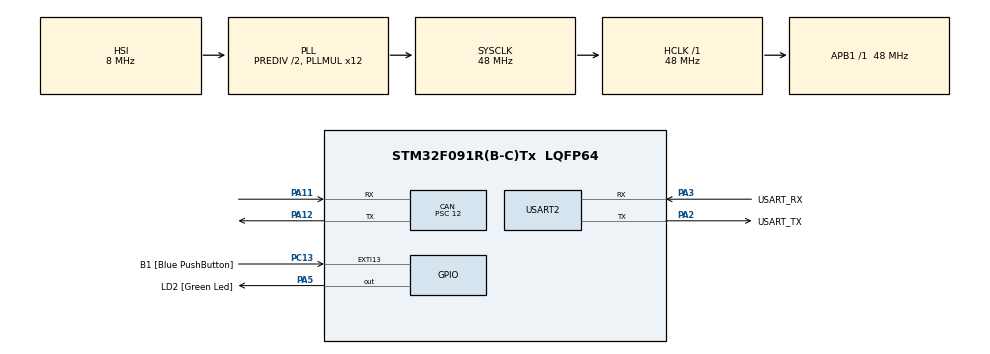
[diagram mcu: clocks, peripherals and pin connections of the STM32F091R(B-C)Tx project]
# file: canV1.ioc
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CAN.AWUM=ENABLE
CAN.BS1=CAN_BS1_8TQ
CAN.BS2=CAN_BS2_2TQ
CAN.CalculateBaudRate=363636
CAN.CalculateTimeBit=2750
CAN.CalculateTimeQuantum=250.0
CAN.Prescaler=12
Mcu.Family=STM32F0
Mcu.Name=STM32F091R(B-C)Tx
Mcu.Package=LQFP64
NVIC.CEC_CAN_IRQn=true\:0\:0\:false\:false\:true\:true\:true
PA11.Mode=CAN_Activate
PA11.Signal=CAN_RX
PA12.Mode=CAN_Activate
PA12.Signal=CAN_TX
PA13.GPIO_Label=TMS
PA13.Mode=Serial_Wire
PA13.Signal=SYS_SWDIO
PA14.GPIO_Label=TCK
PA14.Mode=Serial_Wire
PA14.Signal=SYS_SWCLK
PA2.GPIO_Label=USART_TX
PA2.GPIO_Mode=GPIO_MODE_AF_PP
PA2.GPIO_PuPd=GPIO_NOPULL
PA2.GPIO_Speed=GPIO_SPEED_FREQ_LOW
PA2.Mode=Asynchronous
PA2.Signal=USART2_TX
PA3.GPIO_Label=USART_RX
PA3.GPIO_Mode=GPIO_MODE_AF_PP
PA3.GPIO_PuPd=GPIO_NOPULL
PA3.GPIO_Speed=GPIO_SPEED_FREQ_LOW
PA3.Mode=Asynchronous
PA3.Signal=USART2_RX
PA5.GPIO_Label=LD2 [Green Led]
PA5.GPIO_Mode=GPIO_MODE_OUTPUT_PP
PA5.GPIO_PuPd=GPIO_NOPULL
PA5.GPIO_Speed=GPIO_SPEED_FREQ_LOW
PA5.Signal=GPIO_Output
PC13.GPIO_Label=B1 [Blue PushButton]
PC13.GPIO_ModeDefaultEXTI=GPIO_MODE_IT_FALLING
PC13.Signal=GPXTI13
PC14OSC32_IN.Signal=RCC_OSC32_IN
PC15OSC32_OUT.Signal=RCC_OSC32_OUT
PF0-OSC_IN.Mode=HSE-External-Oscillator
PF0-OSC_IN.Signal=RCC_OSC_IN
PF1-OSC_OUT.Mode=HSE-External-Oscillator
PF1-OSC_OUT.Signal=RCC_OSC_OUT
ProjectManager.HeapSize=0x200
ProjectManager.StackSize=0x400
ProjectManager.TargetToolchain=STM32CubeIDE
RCC.AHBFreq_Value=48000000
RCC.APB1Freq_Value=48000000
RCC.APB1TimFreq_Value=48000000
RCC.FLatency-AdvancedSettings=FLASH_LATENCY_1
RCC.HCLKFreq_Value=48000000
RCC.PLLDivider=RCC_PREDIV_DIV2
RCC.PLLMUL=RCC_PLL_MUL12
RCC.PREFETCH_ENABLE-AdvancedSettings=1
RCC.SYSCLKFreq_VALUE=48000000
RCC.SYSCLKSource=RCC_SYSCLKSOURCE_PLLCLK
USART2.VirtualMode-Asynchronous=VM_ASYNC
board=NUCLEO-F091RC

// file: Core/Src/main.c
/* USER CODE BEGIN Header */
/**
 ******************************************************************************
 * @file           : main.c
 * @brief          : Main program body
 * @author 		: Theo RUSINOWITCH <teo.rusi@hotmail.fr>
 ******************************************************************************
 * @attention
 *
 * <h2><center>&copy; Copyright (c) 2021 STMicroelectronics.
 * All rights reserved.</center></h2>
 *
 * This software component is licensed by ST under BSD 3-Clause license,
 * the "License"; You may not use this file except in compliance with the
 * License. You may obtain a copy of the License at:
 *                        opensource.org/licenses/BSD-3-Clause
 *
 ******************************************************************************
 */
/* USER CODE END Header */
#include "main.h"

CAN_HandleTypeDef hcan;

UART_HandleTypeDef huart2;
/* USER CODE BEGIN PV */
CAN_TxHeaderTypeDef TxHeader;
/* USER CODE END PV */

void SystemClock_Config(void);
static void MX_GPIO_Init(void);
static void MX_USART2_UART_Init(void);
static void MX_CAN_Init(void);
/* USER CODE BEGIN PFP */

void HAL_CAN_RxFifo0MsgPendingCallback(CAN_HandleTypeDef *hcan);
/* USER CODE END PFP */

/* USER CODE BEGIN 0 */

void HAL_CAN_RxFifo0MsgPendingCallback(CAN_HandleTypeDef *hcan) {

	// traitement et mise en forme de la trame
	/////////////////////////////////////////////////////////////////////////
	uint8_t RxData[8];
	CAN_RxHeaderTypeDef RxHeader;
	HAL_CAN_GetRxMessage(hcan, CAN_RX_FIFO0, &RxHeader, RxData);

	struct CanMsg msg;
	msg.addr = RxHeader.StdId & 0xf00;
	msg.idMessage = RxHeader.StdId & 0x0ff;
	msg.codeFct = RxData[0];
	for(int i = 1; i <= RxHeader.DLC; i++){
		msg.data[i-1] = RxData[i];
	}
	msg.dataLen = RxHeader.DLC-1;
	/////////////////////////////////////////////////////////////////////////

	//	le message et ses info sont dans la variable msg

	//	écrire le code ICI

	/*
	//renvoi un msg sur le bus can
	uint8_t data[3] = {msg.data[0],RxData[1],0x11};
	send_can(0x123, data, 3);*/
}

/* USER CODE END 0 */

int main(void) {

	/* MCU Configuration--------------------------------------------------------*/

	/* Reset of all peripherals, Initializes the Flash interface and the Systick. */
	HAL_Init();

	/* Configure the system clock */
	SystemClock_Config();

	/* Initialize all configured peripherals */
	MX_GPIO_Init();
	MX_USART2_UART_Init();
	MX_CAN_Init();
	/* USER CODE BEGIN 2 */
	CAN_Config(hcan, 0x222);

	char *msg = "\n\r\n\rHello Nucleo Fun!\n\r";
	HAL_UART_Transmit(&huart2, (uint8_t*) msg, sizeof(msg), 1000);
	HAL_GPIO_WritePin(GPIOA, GPIO_PIN_5, 1);
	HAL_Delay(1500);
	HAL_GPIO_WritePin(GPIOA, GPIO_PIN_5, 0);   // LED on PA5 OFF
	HAL_Delay(500);
	/* USER CODE END 2 */

	/* Infinite loop */
	/* USER CODE BEGIN WHILE */
	send_one(0x123, 0x66);
	while (1) {
		HAL_Delay(1500);
		HAL_GPIO_WritePin(GPIOA, GPIO_PIN_5, 0);   // LED on PA5 OFF
		HAL_Delay(500);
		HAL_GPIO_WritePin(GPIOA, GPIO_PIN_5, 1);
		/* USER CODE END WHILE */

	}
}

void SystemClock_Config(void) {
	RCC_OscInitTypeDef RCC_OscInitStruct = { 0 };
	RCC_ClkInitTypeDef RCC_ClkInitStruct = { 0 };
	RCC_PeriphCLKInitTypeDef PeriphClkInit = { 0 };

	/** Initializes the RCC Oscillators according to the specified parameters
	 * in the RCC_OscInitTypeDef structure.
	 */
	RCC_OscInitStruct.OscillatorType = RCC_OSCILLATORTYPE_HSI;
	RCC_OscInitStruct.HSIState = RCC_HSI_ON;
	RCC_OscInitStruct.HSICalibrationValue = RCC_HSICALIBRATION_DEFAULT;
	RCC_OscInitStruct.PLL.PLLState = RCC_PLL_ON;
	RCC_OscInitStruct.PLL.PLLSource = RCC_PLLSOURCE_HSI;
	RCC_OscInitStruct.PLL.PLLMUL = RCC_PLL_MUL12;
	RCC_OscInitStruct.PLL.PREDIV = RCC_PREDIV_DIV2;
	if (HAL_RCC_OscConfig(&RCC_OscInitStruct) != HAL_OK) {
		Error_Handler();
	}
	/** Initializes the CPU, AHB and APB buses clocks
	 */
	RCC_ClkInitStruct.ClockType = RCC_CLOCKTYPE_HCLK | RCC_CLOCKTYPE_SYSCLK
			| RCC_CLOCKTYPE_PCLK1;
	RCC_ClkInitStruct.SYSCLKSource = RCC_SYSCLKSOURCE_PLLCLK;
	RCC_ClkInitStruct.AHBCLKDivider = RCC_SYSCLK_DIV1;
	RCC_ClkInitStruct.APB1CLKDivider = RCC_HCLK_DIV1;

	if (HAL_RCC_ClockConfig(&RCC_ClkInitStruct, FLASH_LATENCY_1) != HAL_OK) {
		Error_Handler();
	}
	PeriphClkInit.PeriphClockSelection = RCC_PERIPHCLK_USART2;
	PeriphClkInit.Usart2ClockSelection = RCC_USART2CLKSOURCE_PCLK1;
	if (HAL_RCCEx_PeriphCLKConfig(&PeriphClkInit) != HAL_OK) {
		Error_Handler();
	}
}

static void MX_CAN_Init(void) {

	hcan.Instance = CAN;
	hcan.Init.Prescaler = 12;
	hcan.Init.Mode = CAN_MODE_NORMAL;
	hcan.Init.SyncJumpWidth = CAN_SJW_1TQ;
	hcan.Init.TimeSeg1 = CAN_BS1_8TQ;
	hcan.Init.TimeSeg2 = CAN_BS2_2TQ;
	hcan.Init.TimeTriggeredMode = DISABLE;
	hcan.Init.AutoBusOff = DISABLE;
	hcan.Init.AutoWakeUp = ENABLE;
	hcan.Init.AutoRetransmission = DISABLE;
	hcan.Init.ReceiveFifoLocked = DISABLE;
	hcan.Init.TransmitFifoPriority = DISABLE;
	if (HAL_CAN_Init(&hcan) != HAL_OK) {
		Error_Handler();
	}

}

static void MX_USART2_UART_Init(void) {

	huart2.Instance = USART2;
	huart2.Init.BaudRate = 115200;
	huart2.Init.WordLength = UART_WORDLENGTH_8B;
	huart2.Init.StopBits = UART_STOPBITS_1;
	huart2.Init.Parity = UART_PARITY_NONE;
	huart2.Init.Mode = UART_MODE_TX_RX;
	huart2.Init.HwFlowCtl = UART_HWCONTROL_NONE;
	huart2.Init.OverSampling = UART_OVERSAMPLING_16;
	huart2.Init.OneBitSampling = UART_ONE_BIT_SAMPLE_DISABLE;
	huart2.AdvancedInit.AdvFeatureInit = UART_ADVFEATURE_NO_INIT;
	if (HAL_UART_Init(&huart2) != HAL_OK) {
		Error_Handler();
	}

}

static void MX_GPIO_Init(void) {
	GPIO_InitTypeDef GPIO_InitStruct = { 0 };

	/* GPIO Ports Clock Enable */
	__HAL_RCC_GPIOC_CLK_ENABLE();
	__HAL_RCC_GPIOF_CLK_ENABLE();
	__HAL_RCC_GPIOA_CLK_ENABLE();

	/*Configure GPIO pin Output Level */
	HAL_GPIO_WritePin(LD2_GPIO_Port, LD2_Pin, GPIO_PIN_RESET);

	/*Configure GPIO pin : B1_Pin */
	GPIO_InitStruct.Pin = B1_Pin;
	GPIO_InitStruct.Mode = GPIO_MODE_IT_FALLING;
	GPIO_InitStruct.Pull = GPIO_NOPULL;
	HAL_GPIO_Init(B1_GPIO_Port, &GPIO_InitStruct);

	/*Configure GPIO pin : LD2_Pin */
	GPIO_InitStruct.Pin = LD2_Pin;
	GPIO_InitStruct.Mode = GPIO_MODE_OUTPUT_PP;
	GPIO_InitStruct.Pull = GPIO_NOPULL;
	GPIO_InitStruct.Speed = GPIO_SPEED_FREQ_LOW;
	HAL_GPIO_Init(LD2_GPIO_Port, &GPIO_InitStruct);

}

void Error_Handler(void) {
	__disable_irq();
	while (1) {
	}
}
